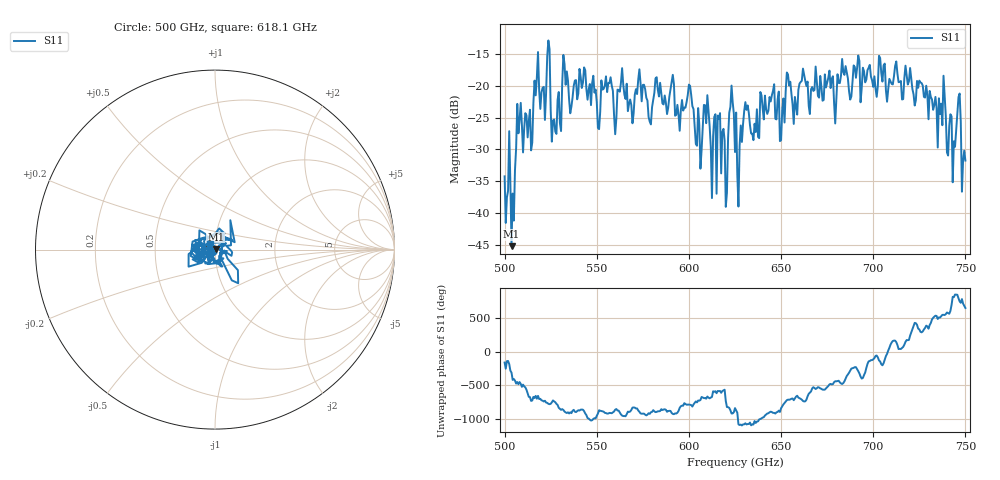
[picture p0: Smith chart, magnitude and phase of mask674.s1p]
!Created with skrf (http://scikit-rf.org).
# GHz S MA R 50.0
!freq magS11 angS11
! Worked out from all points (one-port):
!   401 points, 500 GHz to 750 GHz, reference 50 ohm
!   lowest |S11| = -45.2 dB at 503.8 GHz (marker M1), VSWR 1.01, Z = 50.4 + j0.416 ohm
!   |S11| at or under -10 dB: start of sweep to end of sweep
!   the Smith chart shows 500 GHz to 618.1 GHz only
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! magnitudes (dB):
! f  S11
! 500 GHz  -34.2
! 503.8 GHz  -45.2
! 505 GHz  -41.2
! 507.5 GHz  -27.5
! 513.8 GHz  -23.8
! 517.5 GHz  -18.6
! 523.8 GHz  -12.9
! 526.9 GHz  -25.3
! 531.2 GHz  -19.7
! 562.5 GHz  -20.9
! 578.8 GHz  -25.6
! 590.6 GHz  -19.4
! 593.8 GHz  -23.0
! 600.6 GHz  -20.0
! 605.6 GHz  -26.0
! 609.4 GHz  -25.9
! 620 GHz  -39.0
! 623.1 GHz  -20.0
! 625 GHz  -30.4
! 627.5 GHz  -29.4
! 631.2 GHz  -23.8
! 635 GHz  -28.5
! 656.2 GHz  -23.0
! 687.5 GHz  -22.2
! 718.8 GHz  -19.8
! 743.8 GHz  -28.7
! 746.2 GHz  -21.8
! 750 GHz  -31.7
